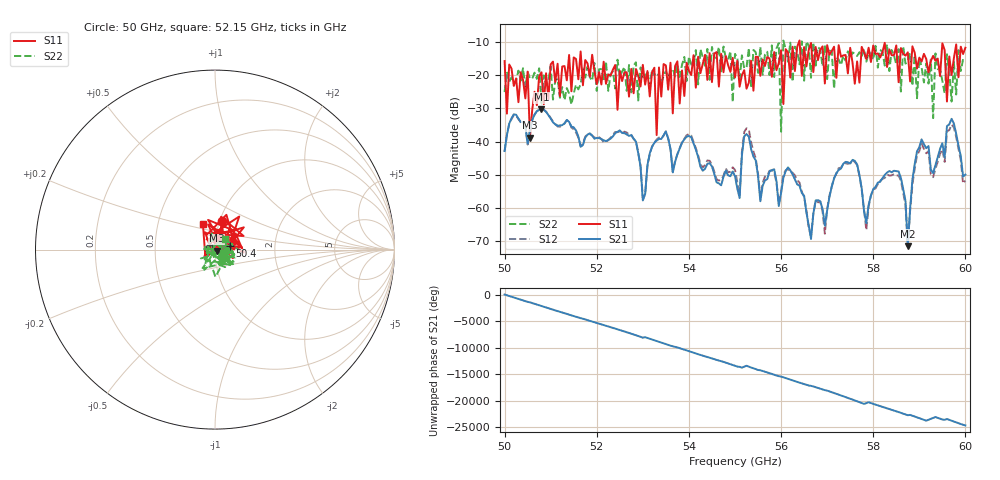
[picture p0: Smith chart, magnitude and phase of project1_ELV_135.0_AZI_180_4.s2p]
! 10/29/2026 4:27:55 PM
! C:\ANRITSUVNA\TEMP\TEMP.S2P
! CHANNEL.1
! TR.MEASUREMENT
! RAW.DATA
# HZ S RI R 50.0
! FREQ.HZ  S11RE  S11IM  S21RE  S21IM  S12RE  S12IM  S22RE  S22IM
!; PortSelection: Port_12
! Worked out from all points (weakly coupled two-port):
!   201 points, 50 GHz to 60 GHz, reference 50 ohm
!   highest |S21| = -30.21 dB at 50.8 GHz (marker M1); lowest = -71.5 dB at 58.75 GHz (marker M2)
!   lowest |S11| = -38.8 dB at 50.55 GHz (marker M3), VSWR 1.02, Z = 50.9 - j0.686 ohm
!   |S11| at or under -10 dB: start of sweep to 56.39 GHz; 56.4 GHz to end of sweep
!   |S22| runs from -37.0 to -9.5 dB; largest |S21 - S12| = 0.048
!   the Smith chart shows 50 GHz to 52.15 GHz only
!   S11 on the Smith chart (normalised r, x): 50 GHz: 1.02, +0.34; 50.4 GHz: 1.18, +0.05; 52.15 GHz: 0.84, +0.25
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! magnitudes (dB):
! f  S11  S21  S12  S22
! 50 GHz  -15.7  -42.8  -42.9  -25.1
! 50.4 GHz  -21.4  -34.1  -34.2  -17.9
! 50.55 GHz  -38.8  -36.7  -37.0  -20.9
! 50.8 GHz  -19.1  -30.2  -30.2  -28.4
! 51.7 GHz  -23.0  -41.0  -40.6  -17.9
! 52.15 GHz  -15.9  -39.6  -40.1  -21.9
! 53 GHz  -16.8  -57.7  -57.1  -20.5
! 53.25 GHz  -17.7  -40.4  -40.3  -19.9
! 53.3 GHz  -38.0  -39.7  -39.4  -19.2
! 53.35 GHz  -17.6  -39.2  -38.8  -20.1
! 55 GHz  -20.7  -50.4  -48.5  -13.5
! 55.95 GHz  -16.3  -59.4  -58.7  -10.3
! 56 GHz  -12.5  -55.5  -55.2  -37.0
! 56.05 GHz  -28.7  -51.0  -49.9  -9.5
! 56.1 GHz  -12.1  -48.9  -48.7  -12.3
! 56.7 GHz  -19.0  -61.8  -61.8  -10.1
! 58.35 GHz  -12.2  -48.9  -50.2  -18.7
! 58.75 GHz  -13.1  -71.5  -71.2  -15.4
! 59.05 GHz  -15.8  -39.3  -40.5  -17.6
! 59.3 GHz  -14.1  -49.5  -50.7  -32.9
! 59.35 GHz  -15.6  -47.1  -48.2  -13.4
! 60 GHz  -11.7  -49.9  -51.7  -15.0
